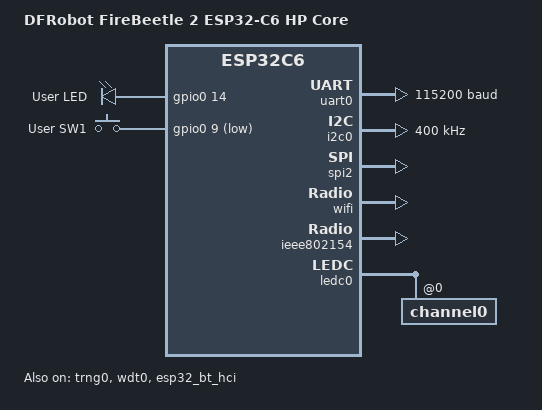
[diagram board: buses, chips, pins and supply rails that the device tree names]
/*
 * Copyright (c) 2024 DFRobot
 * SPDX-License-Identifier: Apache-2.0
 */

/dts-v1/;

#include <espressif/esp32c6/esp32c6_wroom_n4.dtsi>
#include "firebeetle2_esp32c6_hpcore-pinctrl.dtsi"
#include <zephyr/dt-bindings/input/input-event-codes.h>
#include <zephyr/dt-bindings/pwm/pwm.h>
#include <espressif/partitions_0x0_default.dtsi>

/ {
	model = "DFRobot FireBeetle 2 ESP32-C6 HP Core";
	compatible = "dfrobot,firebeetle2-esp32c6";

	chosen {
		zephyr,sram = &sramhp;
		zephyr,console = &uart0;
		zephyr,shell-uart = &uart0;
		zephyr,flash = &flash0;
		zephyr,code-partition = &slot0_partition;
		zephyr,ieee802154 = &ieee802154;
	};

	aliases {
		led0 = &user_led;
		sw0 = &user_button1;
		watchdog0 = &wdt0;
	};

	leds {
		compatible = "gpio-leds";
		user_led: led_0 {
			gpios = <&gpio0 14 GPIO_ACTIVE_HIGH>;
			label = "User LED";
		};
	};

	gpio_keys {
		compatible = "gpio-keys";
		user_button1: button_1 {
			label = "User SW1";
			gpios = <&gpio0 9 (GPIO_PULL_UP | GPIO_ACTIVE_LOW)>;
			zephyr,code = <INPUT_KEY_0>;
		};
	};
};

&uart0 {
	status = "okay";
	current-speed = <115200>;
	pinctrl-0 = <&uart0_default>;
	pinctrl-names = "default";
};

&trng0 {
	status = "okay";
};

&i2c0 {
	status = "okay";
	clock-frequency = <I2C_BITRATE_FAST>;
	pinctrl-0 = <&i2c0_default>;
	pinctrl-names = "default";
};

&spi2 {
	#address-cells = <1>;
	#size-cells = <0>;
	status = "okay";
	pinctrl-0 = <&spim2_default>;
	pinctrl-names = "default";
};

&gpio0 {
	status = "okay";
};

&uart0 {
	status = "okay";
	current-speed = <115200>;
	pinctrl-0 = <&uart0_default>;
	pinctrl-names = "default";
};

&wdt0 {
	status = "okay";
};

&wifi {
	status = "okay";
};

&ieee802154 {
	status = "okay";
};

&esp32_bt_hci {
	status = "okay";
};

&ledc0 {
	status = "okay";
	pinctrl-0 = <&ledc0_default>;
	pinctrl-names = "default";
	#address-cells = <1>;
	#size-cells = <0>;
	channel0@0 {
		reg = <0x0>;
		timer = <0>;
	};
};
